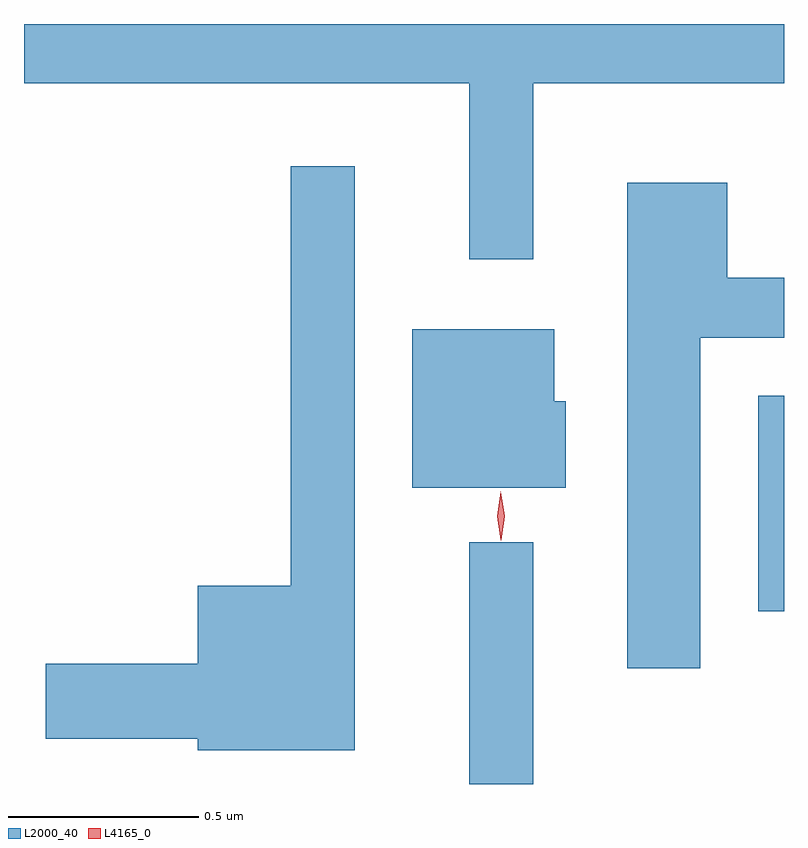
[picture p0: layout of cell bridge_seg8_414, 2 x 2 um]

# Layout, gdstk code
import gdstk
lib = gdstk.Library(unit=1e-6, precision=1e-09)
def R(c, l, rs):  # rectangles x0, y0, x1, y1
    for r in rs: c.add(gdstk.rectangle(r[:2], r[2:], *l))
def P(c, l, *ps):  # polygons
    for p in ps: c.add(gdstk.Polygon(p, *l))
L2000_40 = (2000, 40)
L4165_0 = (4165, 0)

bridge_seg8_414 = lib.new_cell('bridge_seg8_414')
R(bridge_seg8_414, L2000_40, [(679.991,1825.692,680.159,1826.328), (680.751,1826.146,680.819,1826.714)])
P(bridge_seg8_414, L2000_40, [(680.159,1827.536),(680.819,1827.536),(680.819,1827.692),(678.819,1827.692),(678.819,1827.536),(679.991,1827.536),(679.991,1827.073),(680.159,1827.073)],
  [(679.689,1827.318),(679.521,1827.318),(679.521,1826.214),(679.276,1826.214),(679.276,1826.009),(678.876,1826.009),(678.876,1825.811),(679.276,1825.811),(679.276,1825.781),(679.689,1825.781)],
  [(680.599,1826.866),(680.819,1826.866),(680.819,1827.024),(680.669,1827.024),(680.669,1827.274),(680.406,1827.274),(680.406,1825.996),(680.599,1825.996)],
  [(680.244,1826.699),(680.214,1826.699),(680.214,1826.889),(679.841,1826.889),(679.841,1826.471),(680.244,1826.471)])
P(bridge_seg8_414, L4165_0, [(680.074,1826.333),(680.064,1826.397),(680.073,1826.461),(680.074,1826.462),(680.074,1826.461),(680.084,1826.397),(680.075,1826.333),(680.075,1826.333)])

lib.write_gds('bridge_seg8_414.gds')
